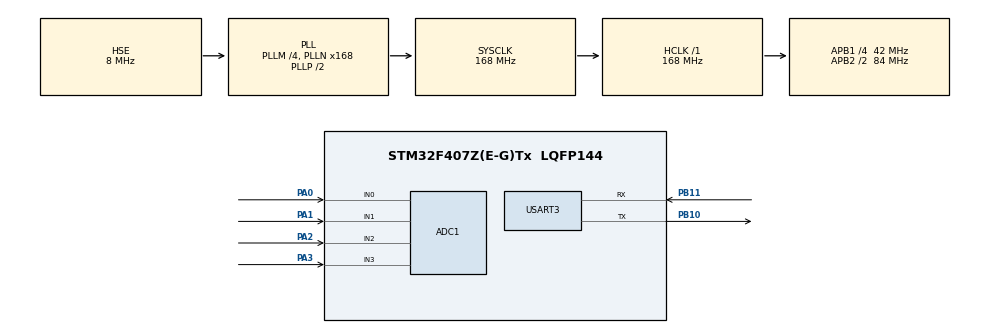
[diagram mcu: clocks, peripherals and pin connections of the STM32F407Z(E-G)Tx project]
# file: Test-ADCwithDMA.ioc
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ADC1.Channel-0\#ChannelRegularConversion=ADC_CHANNEL_0
ADC1.Channel-1\#ChannelRegularConversion=ADC_CHANNEL_1
ADC1.Channel-2\#ChannelRegularConversion=ADC_CHANNEL_2
ADC1.Channel-3\#ChannelRegularConversion=ADC_CHANNEL_3
ADC1.ClockPrescaler=ADC_CLOCK_SYNC_PCLK_DIV4
ADC1.ContinuousConvMode=ENABLE
ADC1.DMAContinuousRequests=ENABLE
ADC1.DiscontinuousConvMode=DISABLE
ADC1.EOCSelection=ADC_EOC_SINGLE_CONV
ADC1.InjNumberOfConversion=0
ADC1.NbrOfConversion=4
ADC1.NbrOfConversionFlag=1
ADC1.Rank-0\#ChannelRegularConversion=1
ADC1.Rank-1\#ChannelRegularConversion=2
ADC1.Rank-2\#ChannelRegularConversion=3
ADC1.Rank-3\#ChannelRegularConversion=4
ADC1.SamplingTime-0\#ChannelRegularConversion=ADC_SAMPLETIME_3CYCLES
ADC1.SamplingTime-1\#ChannelRegularConversion=ADC_SAMPLETIME_3CYCLES
ADC1.SamplingTime-2\#ChannelRegularConversion=ADC_SAMPLETIME_3CYCLES
ADC1.SamplingTime-3\#ChannelRegularConversion=ADC_SAMPLETIME_3CYCLES
ADC1.ScanConvMode=ENABLE
ADC1.master=1
Dma.ADC1.0.Direction=DMA_PERIPH_TO_MEMORY
Dma.ADC1.0.FIFOMode=DMA_FIFOMODE_DISABLE
Dma.ADC1.0.Instance=DMA2_Stream0
Dma.ADC1.0.MemDataAlignment=DMA_MDATAALIGN_WORD
Dma.ADC1.0.MemInc=DMA_MINC_ENABLE
Dma.ADC1.0.Mode=DMA_CIRCULAR
Dma.ADC1.0.PeriphDataAlignment=DMA_PDATAALIGN_WORD
Dma.ADC1.0.PeriphInc=DMA_PINC_DISABLE
Dma.ADC1.0.Priority=DMA_PRIORITY_MEDIUM
Dma.Request0=ADC1
Mcu.Family=STM32F4
Mcu.Name=STM32F407Z(E-G)Tx
Mcu.Package=LQFP144
NVIC.DMA2_Stream0_IRQn=true\:0\:0\:false\:false\:true\:false\:true\:true
NVIC.PriorityGroup=NVIC_PRIORITYGROUP_4
NVIC.USART3_IRQn=true\:1\:0\:true\:false\:true\:true\:true\:true
PA0-WKUP.Signal=ADCx_IN0
PA1.Signal=ADCx_IN1
PA13.Mode=Serial_Wire
PA13.Signal=SYS_JTMS-SWDIO
PA14.Mode=Serial_Wire
PA14.Signal=SYS_JTCK-SWCLK
PA2.Signal=ADCx_IN2
PA3.Signal=ADCx_IN3
PB10.Mode=Asynchronous
PB10.Signal=USART3_TX
PB11.Mode=Asynchronous
PB11.Signal=USART3_RX
PH0-OSC_IN.Mode=HSE-External-Oscillator
PH0-OSC_IN.Signal=RCC_OSC_IN
PH1-OSC_OUT.Mode=HSE-External-Oscillator
PH1-OSC_OUT.Signal=RCC_OSC_OUT
ProjectManager.HeapSize=0x200
ProjectManager.StackSize=0x400
ProjectManager.TargetToolchain=MDK-ARM V5.32
RCC.48MHZClocksFreq_Value=84000000
RCC.AHBFreq_Value=168000000
RCC.APB1CLKDivider=RCC_HCLK_DIV4
RCC.APB1Freq_Value=42000000
RCC.APB1TimFreq_Value=84000000
RCC.APB2CLKDivider=RCC_HCLK_DIV2
RCC.APB2Freq_Value=84000000
RCC.APB2TimFreq_Value=168000000
RCC.CortexFreq_Value=168000000
RCC.HCLKFreq_Value=168000000
RCC.HSE_VALUE=8000000
RCC.HSI_VALUE=16000000
RCC.LSE_VALUE=32768
RCC.PLLM=4
RCC.PLLN=168
RCC.PLLSourceVirtual=RCC_PLLSOURCE_HSE
RCC.SYSCLKFreq_VALUE=168000000
RCC.SYSCLKSource=RCC_SYSCLKSOURCE_PLLCLK
RCC.VCOOutputFreq_Value=336000000
SH.ADCx_IN0.0=ADC1_IN0,IN0
SH.ADCx_IN1.0=ADC1_IN1,IN1
SH.ADCx_IN2.0=ADC1_IN2,IN2
SH.ADCx_IN3.0=ADC1_IN3,IN3
USART3.VirtualMode=VM_ASYNC
board=custom

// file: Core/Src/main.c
/* USER CODE BEGIN Header */
/**
  ******************************************************************************
  * @file           : main.c
  * @brief          : Main program body
  ******************************************************************************
  * @attention
  *
  * Copyright (c) 2026 STMicroelectronics.
  * All rights reserved.
  *
  * This software is licensed under terms that can be found in the LICENSE file
  * in the root directory of this software component.
  * If no LICENSE file comes with this software, it is provided AS-IS.
  *
  ******************************************************************************
  */
/* USER CODE END Header */
#include "main.h"
#include "adc.h"
#include "dma.h"
#include "usart.h"
#include "gpio.h"

/* USER CODE BEGIN Includes */
#include <stdarg.h>
#include <stdio.h>
#include <string.h>
#include <stdbool.h>
#include <stdint.h>
#include "Potentionmeter.h"
/* USER CODE END Includes */

/* USER CODE BEGIN PV */
Potentionmeter_t LeftStick_Y; // 这个方向上的摇杆连接了PA0(ADC1_IN0)
Potentionmeter_t LeftStick_X; // 这个方向上的摇杆连接了PA1(ADC1_IN1)
Potentionmeter_t RightStick_Y; // 这个方向上的摇杆连接了PA2(ADC1_IN2)
Potentionmeter_t RightStick_X; // 这个方向上的摇杆连接了PA3(ADC1_IN3)
/* USER CODE END PV */

void SystemClock_Config(void);

/* USER CODE BEGIN 0 */
/**
 * @brief  串口发送一个字节，阻塞方式。
 * @note   等待发送缓冲区为空，再发送。
 * @param  huart: USART handle
 * @param  abyte: 待发送的字节
 * @retval None
 */
void uart_send_byte_blocking(UART_HandleTypeDef *huart, uint8_t abyte) {
  while ( !__HAL_UART_GET_FLAG(huart, UART_FLAG_TXE) ); // TX不为空，则持续循环
  huart->Instance->DR = abyte; // TX为空了，则跳出以上while循环发送字节
}

/**
 * @brief  串口发送一个字节数组，阻塞方式。
 * @note   等待发送缓冲区为空，再发送。
 * @attention 这个函数可以发送带有'\0'(0x00)的字节串
 * @param  huart: USART handle
 * @param  array: 待发送的字节数组
 * @param  len: 待发送的字节数组长度
 * @retval None
 */
void uart_send_array(UART_HandleTypeDef *huart, uint8_t *array, size_t len) {
  for (size_t i=0; i<len; i++) {
    uart_send_byte_blocking(huart, array[i]);
  }
}

/**
 * @brief  串口发送一个字符串，阻塞方式。
 * @note   等待发送缓冲区为空，再发送。
 * @attention 这个函数不可以发送带有'\0'(0x00)的字节串
 * @param  huart: USART handle
 * @param  string: 待发送的字符串
 * @retval None
 */
void uart_send_string(UART_HandleTypeDef *huart, char *string) {
  uart_send_array(huart, (uint8_t *)string, strlen(string));
}

/**
 * @brief  串口printf函数，用于向串口发送格式化字符串信息。
 * @note   最大长度为128字节。
 * @attention 这个函数不可以发送带有'\0'(0x00)的字节串
 * @param  huart: USART handle
 * @param  format: format string
 * @param  ...: arguments list
 * @retval None
 */
#define USART_DATALEN_MAX  256
void uart_printf(UART_HandleTypeDef *huart, char *format, ...) {
  char SendBuf[USART_DATALEN_MAX];
  va_list args;
  va_start(args, format);
  vsnprintf(SendBuf, sizeof(SendBuf), format, args);
  va_end(args);
  for (uint16_t i=0; SendBuf[i]!='\0'; i++) {
    uart_send_byte_blocking(huart, SendBuf[i]);
  }
}
/* USER CODE END 0 */

int main(void)
{

  /* MCU Configuration--------------------------------------------------------*/

  /* Reset of all peripherals, Initializes the Flash interface and the Systick. */
  HAL_Init();

  /* Configure the system clock */
  SystemClock_Config();

  /* Initialize all configured peripherals */
  MX_GPIO_Init();
  MX_DMA_Init();
  MX_ADC1_Init();
  MX_USART3_UART_Init();
  /* USER CODE BEGIN 2 */
  HAL_ADC_Start_DMA(&hadc1, (uint32_t*)ADC_ConvValue, 4); // 第一步必须要先把这个打开，打开后才能初始化

  /*电位器对象，ADC数组索引，参考电压，转换最小值，转换最大值，回中飘动最小值，回中飘动最大值*/
  Potentionmeter_Init(&LeftStick_Y, 0, 3.3f, 0, 4095, 1900, 2200);
  Potentionmeter_Init(&LeftStick_X, 1, 3.3f, 0, 4095, 1900, 2200);
  Potentionmeter_Init(&RightStick_Y, 2, 3.3f, 0, 4095, 1900, 2200);
  Potentionmeter_Init(&RightStick_X, 3, 3.3f, 0, 4095, 1900, 2200);
  /* USER CODE END 2 */

  /* Infinite loop */
  /* USER CODE BEGIN WHILE */
  while (1)
  {
    uart_printf(&huart3, "LeftStick_Y: %4d, LeftStick_X: %4d, RightStick_Y: %4d, RightStick_X: %4d\n",
      Potentionmeter_GetConvValue(&LeftStick_Y),
      Potentionmeter_GetConvValue(&LeftStick_X),
      Potentionmeter_GetConvValue(&RightStick_Y),
      Potentionmeter_GetConvValue(&RightStick_X)
    ); // 显示原始转换值，范围[0,4095]

    uart_printf(&huart3, "LeftStick_Y: %1.2fV, LeftStick_X: %1.2fV, RightStick_Y: %1.2fV, RightStick_X: %1.2fV\n",
      Potentionmeter_GetVoltage(&LeftStick_Y),
      Potentionmeter_GetVoltage(&LeftStick_X),
      Potentionmeter_GetVoltage(&RightStick_Y),
      Potentionmeter_GetVoltage(&RightStick_X)
    ); // 显示电压值，范围[0,3.3]

    uart_printf(&huart3, "LeftStick_Y: %3.2f%%, LeftStick_X: %3.2f%%, RightStick_Y: %3.2f%%, RightStick_X: %3.2f%%\n",
      Potentionmeter_GetPosition(&LeftStick_Y) * 100.0f,
      Potentionmeter_GetPosition(&LeftStick_X) * 100.0f,
      Potentionmeter_GetPosition(&RightStick_Y) * 100.0f,
      Potentionmeter_GetPosition(&RightStick_X) * 100.0f
    ); // 显示比例值，范围[-1,1]
    uart_printf(&huart3, "\r\n");
    HAL_Delay(10);
    /* USER CODE END WHILE */

  }
}

void SystemClock_Config(void)
{
  RCC_OscInitTypeDef RCC_OscInitStruct = {0};
  RCC_ClkInitTypeDef RCC_ClkInitStruct = {0};

  /** Configure the main internal regulator output voltage
  */
  __HAL_RCC_PWR_CLK_ENABLE();
  __HAL_PWR_VOLTAGESCALING_CONFIG(PWR_REGULATOR_VOLTAGE_SCALE1);

  /** Initializes the RCC Oscillators according to the specified parameters
  * in the RCC_OscInitTypeDef structure.
  */
  RCC_OscInitStruct.OscillatorType = RCC_OSCILLATORTYPE_HSE;
  RCC_OscInitStruct.HSEState = RCC_HSE_ON;
  RCC_OscInitStruct.PLL.PLLState = RCC_PLL_ON;
  RCC_OscInitStruct.PLL.PLLSource = RCC_PLLSOURCE_HSE;
  RCC_OscInitStruct.PLL.PLLM = 4;
  RCC_OscInitStruct.PLL.PLLN = 168;
  RCC_OscInitStruct.PLL.PLLP = RCC_PLLP_DIV2;
  RCC_OscInitStruct.PLL.PLLQ = 4;
  if (HAL_RCC_OscConfig(&RCC_OscInitStruct) != HAL_OK)
  {
    Error_Handler();
  }

  /** Initializes the CPU, AHB and APB buses clocks
  */
  RCC_ClkInitStruct.ClockType = RCC_CLOCKTYPE_HCLK|RCC_CLOCKTYPE_SYSCLK
                              |RCC_CLOCKTYPE_PCLK1|RCC_CLOCKTYPE_PCLK2;
  RCC_ClkInitStruct.SYSCLKSource = RCC_SYSCLKSOURCE_PLLCLK;
  RCC_ClkInitStruct.AHBCLKDivider = RCC_SYSCLK_DIV1;
  RCC_ClkInitStruct.APB1CLKDivider = RCC_HCLK_DIV4;
  RCC_ClkInitStruct.APB2CLKDivider = RCC_HCLK_DIV2;

  if (HAL_RCC_ClockConfig(&RCC_ClkInitStruct, FLASH_LATENCY_5) != HAL_OK)
  {
    Error_Handler();
  }
}

void Error_Handler(void)
{
  __disable_irq();
  while (1)
  {
  }
}
